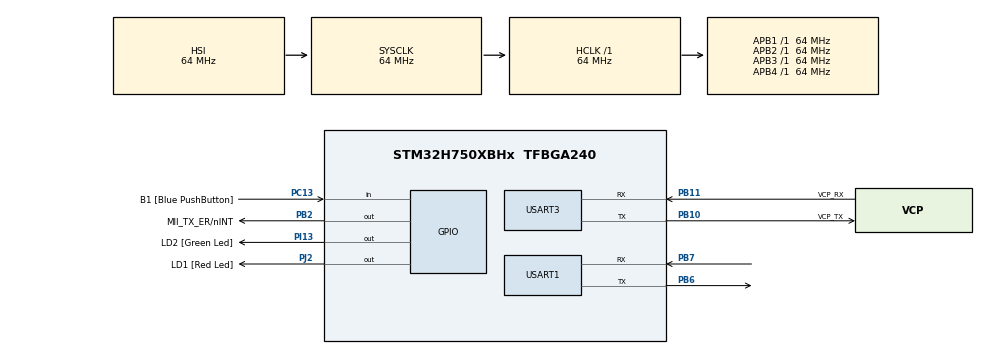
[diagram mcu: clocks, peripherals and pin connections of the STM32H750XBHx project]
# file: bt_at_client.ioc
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FREERTOS.Tasks01=defaultTask,0,128,StartDefaultTask,Default,NULL,Dynamic,NULL,NULL
FREERTOS.configUSE_NEWLIB_REENTRANT=1
Mcu.Family=STM32H7
Mcu.Name=STM32H750XBHx
Mcu.Package=TFBGA240
NVIC.PriorityGroup=NVIC_PRIORITYGROUP_4
NVIC.TIM6_DAC_IRQn=true\:15\:0\:false\:false\:true\:false\:false\:true\:true
NVIC.TimeBase=TIM6_DAC_IRQn
NVIC.TimeBaseIP=TIM6
PA0_C.Signal=ADCx_INP0
PA1.GPIO_Label=MII_RX_CLK
PA1.Signal=ETH_RX_CLK
PA11.GPIO_Label=USB_OTG_FS2_N
PA11.Signal=USB_OTG_FS_DM
PA12.GPIO_Label=USB_OTG_FS2_P
PA12.Signal=USB_OTG_FS_DP
PA13\ (JTMS/SWDIO).Mode=JTAG_4_pins
PA13\ (JTMS/SWDIO).Signal=DEBUG_JTMS-SWDIO
PA14\ (JTCK/SWCLK).Mode=JTAG_4_pins
PA14\ (JTCK/SWCLK).Signal=DEBUG_JTCK-SWCLK
PA15\ (JTDI).Mode=JTAG_4_pins
PA15\ (JTDI).Signal=DEBUG_JTDI
PA1_C.Signal=ADCx_INP1
PA2.GPIO_Label=MII_MDIO
PA2.Signal=ETH_MDIO
PA6.Signal=S_TIM13_CH1
PA7.GPIO_Label=MII_RX_DV
PA7.Signal=ETH_RX_DV
PA8.Signal=S_TIM1_CH1
PA9.GPIO_Label=VBUS_FS2
PA9.Signal=USB_OTG_FS_VBUS
PB0.GPIO_Label=MII_RX_D2
PB0.Signal=ETH_RXD2
PB1.GPIO_Label=MII_RX_D3
PB1.Signal=ETH_RXD3
PB10.GPIO_Label=VCP_TX
PB10.Mode=Asynchronous
PB10.Signal=USART3_TX
PB11.GPIO_Label=VCP_RX
PB11.Mode=Asynchronous
PB11.Signal=USART3_RX
PB13.GPIO_Label=FDCAN2_TX
PB13.Signal=FDCAN2_TX
PB15.Signal=SPI2_MOSI
PB2.GPIO_Label=MII_TX_ER/nINT
PB2.Signal=GPIO_Output
PB3\ (JTDO/TRACESWO).Mode=JTAG_4_pins
PB3\ (JTDO/TRACESWO).Signal=DEBUG_JTDO-SWO
PB4\ (NJTRST).Signal=SPI2_NSS
PB5.GPIO_Label=FDCAN2_RX
PB5.Signal=FDCAN2_RX
PB6.Mode=Asynchronous
PB6.Signal=USART1_TX
PB7.Mode=Asynchronous
PB7.Signal=USART1_RX
PB8.GPIO_Label=SDIO1_D4
PB8.Signal=SDMMC1_D4
PB9.GPIO_Label=SDIO1_D5
PB9.Signal=SDMMC1_D5
PC0.Signal=ADCx_INP10
PC1.GPIO_Label=MII_MDC
PC1.Signal=ETH_MDC
PC10.GPIO_Label=SDIO1_D2
PC10.Signal=SDMMC1_D2
PC11.GPIO_Label=SDIO1_D3
PC11.Signal=SDMMC1_D3
PC12.GPIO_Label=SDIO1_CK
PC12.Signal=SDMMC1_CK
PC13.GPIO_Label=B1 [Blue PushButton]
PC13.Signal=GPIO_Input
PC14-OSC32_IN\ (OSC32_IN).GPIO_Label=OSC32_IN
PC14-OSC32_IN\ (OSC32_IN).Mode=LSE-External-Clock-Source
PC14-OSC32_IN\ (OSC32_IN).Signal=RCC_OSC32_IN
PC15-OSC32_OUT\ (OSC32_OUT).GPIO_Label=OSC32_OUT
PC15-OSC32_OUT\ (OSC32_OUT).Signal=RCC_OSC32_OUT
PC2.GPIO_Label=MII_TXD2
PC2.Signal=ETH_TXD2
PC2_C.Signal=SharedAnalog_PC2
PC3.GPIO_Label=MII_TX_CLK
PC3.Signal=ETH_TX_CLK
PC3_C.Signal=ADC3_INP1
PC4.GPIO_Label=MII_RXD0
PC4.Signal=ETH_RXD0
PC5.GPIO_Label=MII_RXD1
PC5.Signal=ETH_RXD1
PC6.GPIO_Label=SDIO1_D6
PC6.Signal=SDMMC1_D6
PC7.GPIO_Label=SDIO1_D7
PC7.Signal=SDMMC1_D7
PC8.GPIO_Label=SDIO1_D0
PC8.Signal=SDMMC1_D0
PC9.GPIO_Label=SDIO1_D1
PC9.Signal=SDMMC1_D1
PD0.Signal=FMC_D2_DA2
PD1.Signal=FMC_D3_DA3
PD10.Signal=FMC_D15_DA15
PD11.Signal=QUADSPI_BK1_IO0
PD14.Signal=FMC_D0_DA0
PD15.Signal=FMC_D1_DA1
PD2.GPIO_Label=SDIO1_CMD
PD2.Signal=SDMMC1_CMD
PD3.Signal=SPI2_SCK
PD8.Signal=FMC_D13_DA13
PD9.Signal=FMC_D14_DA14
PE0.Signal=FMC_NBL0
PE1.Signal=FMC_NBL1
PE10.Signal=FMC_D7_DA7
PE11.Signal=FMC_D8_DA8
PE12.Signal=FMC_D9_DA9
PE13.Signal=FMC_D10_DA10
PE14.Signal=FMC_D11_DA11
PE15.Signal=FMC_D12_DA12
PE2.GPIO_Label=MII_TXD3
PE2.Signal=ETH_TXD3
PE4.Signal=SAI4_D2
PE5.Signal=SAI4_CK2
PE7.Signal=FMC_D4_DA4
PE8.Signal=FMC_D5_DA5
PE9.Signal=FMC_D6_DA6
PF0.Signal=FMC_A0
PF1.Signal=FMC_A1
PF10.Signal=QUADSPI_CLK
PF11.Signal=FMC_SDNRAS
PF12.Signal=FMC_A6
PF13.Signal=FMC_A7
PF14.Signal=FMC_A8
PF15.Signal=FMC_A9
PF2.Signal=FMC_A2
PF3.Signal=FMC_A3
PF4.Signal=FMC_A4
PF5.Signal=FMC_A5
PF6.Signal=QUADSPI_BK1_IO3
PF7.Signal=QUADSPI_BK1_IO2
PF8.Signal=ADC3_INP7
PF9.Signal=QUADSPI_BK1_IO1
PG0.Signal=FMC_A10
PG1.Signal=FMC_A11
PG10.Signal=SAI2_SD_B
PG11.GPIO_Label=MII_TX_EN
PG11.Signal=ETH_TX_EN
PG12.GPIO_Label=MII_TXD1
PG12.Signal=ETH_TXD1
PG13.GPIO_Label=MII_TXD0
PG13.Signal=ETH_TXD0
PG15.Signal=FMC_SDNCAS
PG4.Signal=FMC_A14_BA0
PG5.Signal=FMC_A15_BA1
PG7.GPIO_Label=audio_Int
PG7.Signal=SAI1_MCLK_A
PG8.Signal=FMC_SDCLK
PH0-OSC_IN\ (PH0).GPIO_Label=OSC_IN
PH0-OSC_IN\ (PH0).Mode=HSE-External-Clock-Source
PH0-OSC_IN\ (PH0).Signal=RCC_OSC_IN
PH1-OSC_OUT\ (PH1).GPIO_Label=OSC_OUT
PH1-OSC_OUT\ (PH1).Signal=RCC_OSC_OUT
PH13.GPIO_Label=FDCAN1_TX
PH13.Signal=FDCAN1_TX
PH14.GPIO_Label=FDCAN1_RX
PH14.Signal=FDCAN1_RX
PH15.Signal=TIM8_CH3N
PH2.GPIO_Label=MII_CRS
PH2.Signal=ETH_CRS
PH3.GPIO_Label=MII_COL
PH3.Signal=ETH_COL
PH5.Signal=FMC_SDNWE
PH6.Signal=FMC_SDNE1
PH7.Signal=FMC_SDCKE1
PH9.Signal=LTDC_R3
PI0.Signal=LTDC_G5
PI1.Signal=LTDC_G6
PI10.GPIO_Label=MII_RX_ER
PI10.Signal=ETH_RX_ER
PI12.Signal=LTDC_HSYNC
PI13.GPIO_Label=LD2 [Green Led]
PI13.Signal=GPIO_Output
PI14.Signal=LTDC_CLK
PI15.Signal=LTDC_R0
PI2.Signal=SPI2_MISO
PI4.Signal=SAI2_MCLK_A
PI5.Signal=SAI2_SCK_A
PI6.Signal=SAI2_SD_A
PI7.Signal=SAI2_FS_A
PI9.Signal=LTDC_VSYNC
PJ0.Signal=LTDC_R1
PJ1.Signal=LTDC_R2
PJ10.Signal=LTDC_G3
PJ11.Signal=LTDC_G4
PJ12.Signal=LTDC_B0
PJ13.Signal=LTDC_B1
PJ14.Signal=LTDC_B2
PJ15.GPIO_Label=LCD_DISP
PJ15.Signal=LTDC_B3
PJ2.GPIO_Label=LD1 [Red Led]
PJ2.Signal=GPIO_Output
PJ3.Signal=LTDC_R4
PJ4.Signal=LTDC_R5
PJ5.Signal=LTDC_R6
PJ6.Signal=LTDC_R7
PJ7.Signal=LTDC_G0
PJ8.Signal=LTDC_G1
PJ9.Signal=LTDC_G2
PK2.Signal=LTDC_G7
PK3.Signal=LTDC_B4
PK4.Signal=LTDC_B5
PK5.Signal=LTDC_B6
PK6.Signal=LTDC_B7
PK7.Signal=LTDC_DE
ProjectManager.HeapSize=0x200
ProjectManager.StackSize=0x400
ProjectManager.TargetToolchain=STM32CubeIDE
RCC.ADCFreq_Value=30000000
RCC.APB1Freq_Value=64000000
RCC.APB2Freq_Value=64000000
RCC.APB3Freq_Value=64000000
RCC.APB4Freq_Value=64000000
RCC.CortexFreq_Value=64000000
RCC.DIVM1=22
RCC.DIVM2=2
RCC.DIVN1=169
RCC.DIVN2=12
RCC.DIVN3=192
RCC.DIVP2=5
RCC.DIVQ1=4
RCC.HCLKFreq_Value=64000000
RCC.PLL2FRACN=0
RCC.PLL3FRACN=0
RCC.PLLFRACN=0
RCC.PLLSourceVirtual=RCC_PLLSOURCE_HSE
RCC.PWR_Regulator_Voltage_Scale=PWR_REGULATOR_VOLTAGE_SCALE2
RCC.SYSCLKFreq_VALUE=64000000
RCC.USBFreq_Value=48011363.63636364
SH.ADCx_INP0.0=ADC1_INP0
SH.ADCx_INP0.1=ADC2_INP0
SH.ADCx_INP1.0=ADC1_INP1
SH.ADCx_INP1.1=ADC2_INP1
SH.ADCx_INP10.0=ADC1_INP10
SH.ADCx_INP10.1=ADC3_INP10
SH.FMC_A0.0=FMC_A0
SH.FMC_A1.0=FMC_A1
SH.FMC_A10.0=FMC_A10
SH.FMC_A11.0=FMC_A11
SH.FMC_A14_BA0.0=FMC_BA0
SH.FMC_A15_BA1.0=FMC_BA1
SH.FMC_A2.0=FMC_A2
SH.FMC_A3.0=FMC_A3
SH.FMC_A4.0=FMC_A4
SH.FMC_A5.0=FMC_A5
SH.FMC_A6.0=FMC_A6
SH.FMC_A7.0=FMC_A7
SH.FMC_A8.0=FMC_A8
SH.FMC_A9.0=FMC_A9
SH.FMC_D0_DA0.0=FMC_D0
SH.FMC_D10_DA10.0=FMC_D10
SH.FMC_D11_DA11.0=FMC_D11
SH.FMC_D12_DA12.0=FMC_D12
SH.FMC_D13_DA13.0=FMC_D13
SH.FMC_D14_DA14.0=FMC_D14
SH.FMC_D15_DA15.0=FMC_D15
SH.FMC_D1_DA1.0=FMC_D1
SH.FMC_D2_DA2.0=FMC_D2
SH.FMC_D3_DA3.0=FMC_D3
SH.FMC_D4_DA4.0=FMC_D4
SH.FMC_D5_DA5.0=FMC_D5
SH.FMC_D6_DA6.0=FMC_D6
SH.FMC_D7_DA7.0=FMC_D7
SH.FMC_D8_DA8.0=FMC_D8
SH.FMC_D9_DA9.0=FMC_D9
SH.FMC_NBL0.0=FMC_NBL0
SH.FMC_NBL1.0=FMC_NBL1
SH.FMC_SDCLK.0=FMC_SDCLK
SH.FMC_SDNCAS.0=FMC_SDNCAS
SH.FMC_SDNRAS.0=FMC_SDNRAS
SH.FMC_SDNWE.0=FMC_SDNWE
SH.S_TIM13_CH1.0=TIM13_CH1
SH.S_TIM1_CH1.0=TIM1_CH1
SH.SharedAnalog_PC2.0=ADC3_INN1
SH.SharedAnalog_PC2.1=ADC3_INP0
USART1.VirtualMode-Asynchronous=VM_ASYNC
USART3.VirtualMode-Asynchronous=VM_ASYNC
VP_FREERTOS_VS_CMSIS_V1.Mode=CMSIS_V1
VP_MEMORYMAP_VS_MEMORYMAP.Mode=CurAppReg
VP_SYS_VS_tim6.Mode=TIM6
board=STM32H750B-DK

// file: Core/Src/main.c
/* USER CODE BEGIN Header */
/**
 ******************************************************************************
 * @file           : main.c
 * @brief          : Main program body
 ******************************************************************************
 * @attention
 *
 * Copyright (c) 2024 STMicroelectronics.
 * All rights reserved.
 *
 * This software is licensed under terms that can be found in the LICENSE file
 * in the root directory of this software component.
 * If no LICENSE file comes with this software, it is provided AS-IS.
 *
 ******************************************************************************
 */
/* USER CODE END Header */
#include "main.h"
#include "cmsis_os.h"

/* USER CODE BEGIN Includes */
#include "ble_at_appli.h"
#include "ble_at_client_event_handle.h"
#include "stdbool.h"
#include "stdio.h"
#include "stm32wb_at.h"
#include "stm32wb_at_ble.h"
#include "stm32wb_at_client.h"

/* USER CODE END Includes */

/* USER CODE BEGIN PTD */
typedef struct {
    stm32wb_at_BLE_CMD_t cmd;
    void *param;
} stm32wb_at_cmd_param_t;
/* USER CODE END PTD */

UART_HandleTypeDef huart1;
UART_HandleTypeDef huart3;

osThreadId defaultTaskHandle;
/* USER CODE BEGIN PV */
osThreadId bleAtSendTaskHandle;
osThreadId bleAtReceiveTaskHandle;
osThreadId bleAtCmdTaskHandle;
osMessageQId bleRxHandle;
QueueHandle_t bleTxHandle;

extern ble_at_event_handle event_handles[];
/* USER CODE END PV */

void SystemClock_Config(void);
static void MX_USART1_UART_Init(void);
static void MX_USART3_UART_Init(void);

/* USER CODE BEGIN PFP */
void BleAtSendTask(void const *argument);
void BleAtReceiveTask(void const *argument);
void BleAtCmdTask(void const *argument);

#if defined(__ICCARM__)
/* New definition from EWARM V9, compatible with EWARM8 */
int iar_fputc(int ch);
#define PUTCHAR_PROTOTYPE int iar_fputc(int ch)
#define GETCHAR_PROTOTYPE int fgetc(FILE *f)
#elif defined(__CC_ARM) || defined(__ARMCC_VERSION)
/* ARM Compiler 5/6 */
#define PUTCHAR_PROTOTYPE int fputc(int ch, FILE *f)
#define GETCHAR_PROTOTYPE int fgetc(FILE *f)
#elif defined(__GNUC__)
int __io_putchar(int ch);
#define PUTCHAR_PROTOTYPE int __io_putchar(int ch)
int __io_getchar(void);
#define GETCHAR_PROTOTYPE int __io_getchar(void)
#endif /* __ICCARM__ */
/* USER CODE END PFP */

/* USER CODE BEGIN 0 */
PUTCHAR_PROTOTYPE
{
    HAL_UART_Transmit(&huart3, (uint8_t *) &ch, 1, 0xFFFF);

    return ch;
}
GETCHAR_PROTOTYPE
{
    uint8_t ch = 0;
    /* Place your implementation of fgetc here */

    /* Clear the Overrun flag just before receiving the first character */
    __HAL_UART_CLEAR_OREFLAG(&huart3);

    /* Wait for reception of a character on the USART1 RX line
       and echo this character on console */
    HAL_UART_Receive(&huart3, (uint8_t *) &ch, 1, 0xFFFF);
    HAL_UART_Transmit(&huart3, (uint8_t *) &ch, 1, 0xFFFF);
    return ch;
}
/* USER CODE END 0 */

int main(void)
{

    /* MCU
     * Configuration--------------------------------------------------------*/

    /* Reset of all peripherals, Initializes the Flash interface and the
     * Systick. */
    HAL_Init();

    /* Configure the system clock */
    SystemClock_Config();

    /* Initialize all configured peripherals */
    MX_USART1_UART_Init();
    MX_USART3_UART_Init();
    /* USER CODE BEGIN 2 */
    BSP_LED_Init(LED_GREEN);
    BSP_LED_Init(LED_RED);

    BSP_LED_Off(LED_GREEN);
    BSP_LED_Off(LED_RED);

    printf("\n--------------------------------------------\n");
    printf("Start of the STM32H7 AT client example.\n");
    printf("--------------------------------------------\n");

    osThreadDef(BleAtReceiveTask, BleAtReceiveTask, osPriorityAboveNormal, 0,
                configMINIMAL_STACK_SIZE);
    bleAtReceiveTaskHandle = osThreadCreate(osThread(BleAtReceiveTask), NULL);

    osThreadDef(BleAtSendTask, BleAtSendTask, osPriorityNormal, 0,
                configMINIMAL_STACK_SIZE);
    bleAtSendTaskHandle = osThreadCreate(osThread(BleAtSendTask), NULL);

    osThreadDef(BleAtCmdTask, BleAtCmdTask, osPriorityNormal, 0,
                configMINIMAL_STACK_SIZE);
    bleAtCmdTaskHandle = osThreadCreate(osThread(BleAtCmdTask), NULL);
    /* USER CODE END 2 */

    /* USER CODE BEGIN RTOS_QUEUES */
    /* AT Rx event queue */
    osMessageQDef(bleRxQueue, 5, int);
    bleRxHandle = osMessageCreate(osMessageQ(bleRxQueue), NULL);

    /* AT Tx event queue */
    bleTxHandle = xQueueCreate(5, sizeof(stm32wb_at_cmd_param_t));
    /* USER CODE END RTOS_QUEUES */

    /* Start scheduler */
    osKernelStart();

    /* We should never get here as control is now taken by the scheduler */

    /* Infinite loop */
    while (1) {

    }
}

void SystemClock_Config(void)
{
    RCC_OscInitTypeDef RCC_OscInitStruct = {0};
    RCC_ClkInitTypeDef RCC_ClkInitStruct = {0};

    /** Supply configuration update enable
     */
    HAL_PWREx_ConfigSupply(PWR_LDO_SUPPLY);

    /** Configure the main internal regulator output voltage
     */
    __HAL_PWR_VOLTAGESCALING_CONFIG(PWR_REGULATOR_VOLTAGE_SCALE2);

    while (!__HAL_PWR_GET_FLAG(PWR_FLAG_VOSRDY)) {
    }

    /** Initializes the RCC Oscillators according to the specified parameters
     * in the RCC_OscInitTypeDef structure.
     */
    RCC_OscInitStruct.OscillatorType = RCC_OSCILLATORTYPE_HSI;
    RCC_OscInitStruct.HSIState = RCC_HSI_DIV1;
    RCC_OscInitStruct.HSICalibrationValue = RCC_HSICALIBRATION_DEFAULT;
    RCC_OscInitStruct.PLL.PLLState = RCC_PLL_NONE;
    if (HAL_RCC_OscConfig(&RCC_OscInitStruct) != HAL_OK) {
        Error_Handler();
    }

    /** Initializes the CPU, AHB and APB buses clocks
     */
    RCC_ClkInitStruct.ClockType = RCC_CLOCKTYPE_HCLK | RCC_CLOCKTYPE_SYSCLK |
                                  RCC_CLOCKTYPE_PCLK1 | RCC_CLOCKTYPE_PCLK2 |
                                  RCC_CLOCKTYPE_D3PCLK1 | RCC_CLOCKTYPE_D1PCLK1;
    RCC_ClkInitStruct.SYSCLKSource = RCC_SYSCLKSOURCE_HSI;
    RCC_ClkInitStruct.SYSCLKDivider = RCC_SYSCLK_DIV1;
    RCC_ClkInitStruct.AHBCLKDivider = RCC_HCLK_DIV1;
    RCC_ClkInitStruct.APB3CLKDivider = RCC_APB3_DIV1;
    RCC_ClkInitStruct.APB1CLKDivider = RCC_APB1_DIV1;
    RCC_ClkInitStruct.APB2CLKDivider = RCC_APB2_DIV1;
    RCC_ClkInitStruct.APB4CLKDivider = RCC_APB4_DIV1;

    if (HAL_RCC_ClockConfig(&RCC_ClkInitStruct, FLASH_LATENCY_1) != HAL_OK) {
        Error_Handler();
    }
}

static void MX_USART1_UART_Init(void)
{

    huart1.Instance = USART1;
    huart1.Init.BaudRate = 115200;
    huart1.Init.WordLength = UART_WORDLENGTH_8B;
    huart1.Init.StopBits = UART_STOPBITS_1;
    huart1.Init.Parity = UART_PARITY_NONE;
    huart1.Init.Mode = UART_MODE_TX_RX;
    huart1.Init.HwFlowCtl = UART_HWCONTROL_NONE;
    huart1.Init.OverSampling = UART_OVERSAMPLING_16;
    huart1.Init.OneBitSampling = UART_ONE_BIT_SAMPLE_DISABLE;
    huart1.Init.ClockPrescaler = UART_PRESCALER_DIV1;
    huart1.AdvancedInit.AdvFeatureInit = UART_ADVFEATURE_NO_INIT;
    if (HAL_UART_Init(&huart1) != HAL_OK) {
        Error_Handler();
    }
    if (HAL_UARTEx_SetTxFifoThreshold(&huart1, UART_TXFIFO_THRESHOLD_1_8) !=
        HAL_OK) {
        Error_Handler();
    }
    if (HAL_UARTEx_SetRxFifoThreshold(&huart1, UART_RXFIFO_THRESHOLD_1_8) !=
        HAL_OK) {
        Error_Handler();
    }
    if (HAL_UARTEx_DisableFifoMode(&huart1) != HAL_OK) {
        Error_Handler();
    }
}

static void MX_USART3_UART_Init(void)
{

    huart3.Instance = USART3;
    huart3.Init.BaudRate = 115200;
    huart3.Init.WordLength = UART_WORDLENGTH_8B;
    huart3.Init.StopBits = UART_STOPBITS_1;
    huart3.Init.Parity = UART_PARITY_NONE;
    huart3.Init.Mode = UART_MODE_TX_RX;
    huart3.Init.HwFlowCtl = UART_HWCONTROL_NONE;
    huart3.Init.OverSampling = UART_OVERSAMPLING_16;
    huart3.Init.OneBitSampling = UART_ONE_BIT_SAMPLE_DISABLE;
    huart3.Init.ClockPrescaler = UART_PRESCALER_DIV1;
    huart3.AdvancedInit.AdvFeatureInit = UART_ADVFEATURE_NO_INIT;
    if (HAL_UART_Init(&huart3) != HAL_OK) {
        Error_Handler();
    }
    if (HAL_UARTEx_SetTxFifoThreshold(&huart3, UART_TXFIFO_THRESHOLD_1_8) !=
        HAL_OK) {
        Error_Handler();
    }
    if (HAL_UARTEx_SetRxFifoThreshold(&huart3, UART_RXFIFO_THRESHOLD_1_8) !=
        HAL_OK) {
        Error_Handler();
    }
    if (HAL_UARTEx_DisableFifoMode(&huart3) != HAL_OK) {
        Error_Handler();
    }
}

/* USER CODE BEGIN 4 */
/**
 * @brief  Initializes BLE AT client and processes received messages from the
 * BLE module.
 * @param  argument: Not used
 * @retval None
 */
void BleAtReceiveTask(void const *argument)
{
    uint8_t status = 0;
    osEvent event;

    ble_debug("init start...\n");

    status |= stm32wb_at_Init(&at_buffer[0], sizeof(at_buffer));
    status |= stm32wb_at_client_Init();
    if (status != 0) {
        Error_Handler();
    }
    ble_debug("init complete.\n");

    /* Infinite loop */
    for (;;) {
        event = osMessageGet(bleRxHandle, 0xFFFF);
        if (event.status == osEventMessage) {
            event_handles[event.value.v]();
        }
    }
}

/**
 * @brief  Processes and sends AT commands to the BLE module.
 * @param  argument: Not used
 * @retval None
 */
void BleAtSendTask(void const *argument)
{
    uint8_t status = 0;
    stm32wb_at_cmd_param_t q_cmd;

    /* Infinite loop */
    for (;;) {
        if (xQueueReceive(bleTxHandle, &q_cmd, 0xFFFF)) {
            if (q_cmd.param) {
                status = stm32wb_at_client_Set(q_cmd.cmd, q_cmd.param);
                vPortFree(q_cmd.param);
            } else
                status = stm32wb_at_client_Query(q_cmd.cmd);

            if (status != 0)
                Error_Handler();
        }
    }
}

/**
 * @brief  Send a sequence of AT commands to BleAtSendTask.
 * @param  argument: Not used
 * @retval None
 */
void BleAtCmdTask(void const *argument)
{
    stm32wb_at_cmd_param_t q_cmd;
    stm32wb_at_BLE_BTEN_t bten_param;
    bten_param.power = 1;

    /* List of BLE AT commands to send */
    stm32wb_at_BLE_CMD_t cmd_list[] = {BLE_TEST, BLE_VER, BLE_BTEN, BLE_DEVSTAT,
                                       BLE_PROFILE};

    for (int i = 0; i < sizeof(cmd_list); i++) {
        q_cmd.cmd = cmd_list[i];
        q_cmd.param = NULL;

        if (q_cmd.cmd == BLE_BTEN) {
            q_cmd.param = pvPortMalloc(sizeof(stm32wb_at_BLE_BTEN_t));
            if (!q_cmd.param) {
                ble_debug("Fail to allocate memory for param.\r\n");
                continue;
            }
            *(stm32wb_at_BLE_BTEN_t *) q_cmd.param = bten_param;
        }

        if (!xQueueSend(bleTxHandle, &q_cmd, 0xFFFF))
            ble_debug("Fail to put message into queue.\r\n");
    }

    vTaskDelete(NULL);  // Delete task after execution
}
/* USER CODE END 4 */

void HAL_TIM_PeriodElapsedCallback(TIM_HandleTypeDef *htim)
{
    if (htim->Instance == TIM6) {
        HAL_IncTick();
    }
}

void Error_Handler(void)
{
    /* USER CODE BEGIN Error_Handler_Debug */
    /* User can add his own implementation to report the HAL error return state
     */
    __disable_irq();
    BSP_LED_On(LED_RED);
    while (1) {
    }
    /* USER CODE END Error_Handler_Debug */
}

#ifdef USE_FULL_ASSERT
/**
 * @brief  Reports the name of the source file and the source line number
 *         where the assert_param error has occurred.
 * @param  file: pointer to the source file name
 * @param  line: assert_param error line source number
 * @retval None
 */
void assert_failed(uint8_t *file, uint32_t line)
{
    /* USER CODE BEGIN 6 */
    /* User can add his own implementation to report the file name and line
       number, ex: printf("Wrong parameters value: file %s on line %d\r\n",
       file, line) */
    /* USER CODE END 6 */
}
#endif /* USE_FULL_ASSERT */

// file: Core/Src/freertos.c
/* USER CODE BEGIN Header */
/**
 ******************************************************************************
 * File Name          : freertos.c
 * Description        : Code for freertos applications
 ******************************************************************************
 * @attention
 *
 * Copyright (c) 2024 STMicroelectronics.
 * All rights reserved.
 *
 * This software is licensed under terms that can be found in the LICENSE file
 * in the root directory of this software component.
 * If no LICENSE file comes with this software, it is provided AS-IS.
 *
 ******************************************************************************
 */
/* USER CODE END Header */

#include "FreeRTOS.h"
#include "main.h"
#include "task.h"

/* GetIdleTaskMemory prototype (linked to static allocation support) */
void vApplicationGetIdleTaskMemory(StaticTask_t **ppxIdleTaskTCBBuffer,
                                   StackType_t **ppxIdleTaskStackBuffer,
                                   uint32_t *pulIdleTaskStackSize);

/* USER CODE BEGIN GET_IDLE_TASK_MEMORY */
static StaticTask_t xIdleTaskTCBBuffer;
static StackType_t xIdleStack[configMINIMAL_STACK_SIZE];

void vApplicationGetIdleTaskMemory(StaticTask_t **ppxIdleTaskTCBBuffer,
                                   StackType_t **ppxIdleTaskStackBuffer,
                                   uint32_t *pulIdleTaskStackSize)
{
    *ppxIdleTaskTCBBuffer = &xIdleTaskTCBBuffer;
    *ppxIdleTaskStackBuffer = &xIdleStack[0];
    *pulIdleTaskStackSize = configMINIMAL_STACK_SIZE;
    /* place for user code */
}
/* USER CODE END GET_IDLE_TASK_MEMORY */
